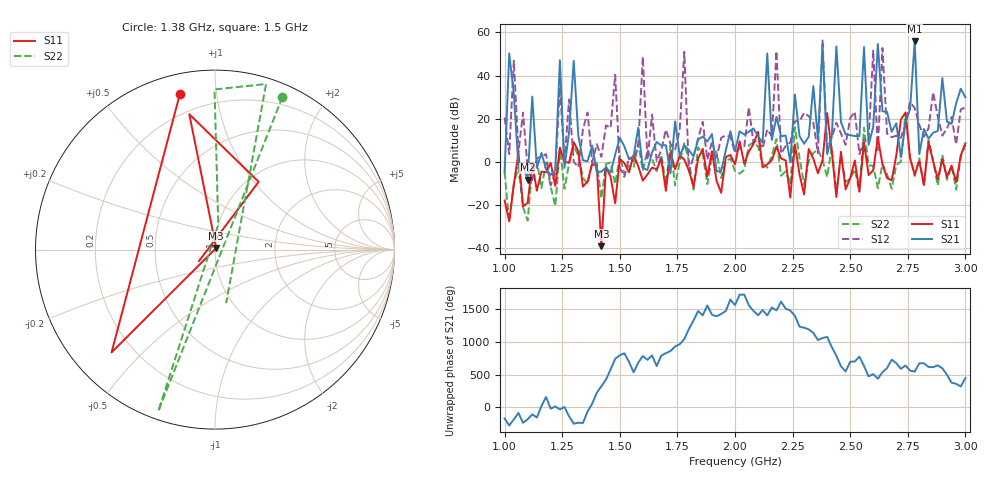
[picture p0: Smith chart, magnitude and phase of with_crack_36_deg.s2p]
# MHz S MA R 50
!  freq  S11  S21  S12  S22
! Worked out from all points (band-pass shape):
!   101 points, 1 GHz to 3 GHz, reference 50 ohm
!   highest |S21| = 55.89 dB at 2.78 GHz (marker M1); lowest = -8.2 dB at 1.1 GHz (marker M2)
!   |S21| within 3 dB of the highest: 2.379532 GHz to 2.380404 GHz (872.3 kHz wide, 0.0367 % of centre); 2.439702 GHz to 2.440356 GHz (653.5 kHz wide, 0.0268 % of centre) (the widest 2 of 5)
!   lowest |S11| = -39.1 dB at 1.42 GHz (marker M3), VSWR 1.02, Z = 50.7 + j0.891 ohm
!   |S11| at or under -10 dB: start of sweep to 1.041 GHz; 1.071 GHz to 1.11 GHz (38.51 MHz wide, 3.53 % of centre); 1.135 GHz to 1.148 GHz (13.04 MHz wide, 1.14 % of centre) (the widest 3 of 16)
!   |S22| runs from -27.7 to 22.3 dB; largest |S21 - S12| = 6.9e+02
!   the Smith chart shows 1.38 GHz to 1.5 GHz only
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1000  0.1269 -148.3  0.5853 -173.3  10.74 -171.4  0.5783 92.1
1020  0.04167 85.7  327.1 81.0  1.512 169.7  0.04125 -17.3
1100  0.1121 110.3  0.3875 176.2  0.6832 -37.2  0.0435 145.2
1340  0.2654 75.1  1.083 119.6  5.618 70.8  0.4281 100.3
1420  0.01107 52.5  0.5911 -39.5  1.308 -158.4  0.1416 82.6
1680  1.156 77.0  2.389 66.9  1.871 -110.6  1.455 128.3
1780  1.127 69.6  2.426 -37.3  352.6 -18.9  2.674 58.0
2000  0.8719 64.1  1.757 121.1  1.632 95.6  0.612 126.4
2160  1.096 144.1  3.215 84.0  3.883 -86.9  1.408 86.9
2180  2.235 51.9  11.01 39.3  367.8 -84.5  3.35 82.9
2340  1.181 75.5  56.83 56.4  8.049 95.4  1.599 92.2
2380  1.093 73.5  495.6 -23.3  650.9 49.0  1.091 73.6
2400  13.43 107.8  1.507 -4.3  2.004 -72.2  0.4461 106.5
2440  0.153 -81.9  473.6 65.8  8.047 127.3  0.1906 -66.6
2560  2.834 -172.8  457.4 -90.3  3.279 11.0  6.184 163.3
2620  3.657 79.9  538.8 75.0  1.88 175.2  0.2441 71.1
2640  0.8744 33.4  14.86 175.3  435.3 -77.4  0.893 31.6
2680  0.3723 15.1  4.969 6.6  3.719 173.1  0.2373 -17.4
2760  1.205 177.1  17 -159.7  24.45 67.8  1.246 176.2
2780  0.5045 127.6  622.7 -176.8  17.53 160.5  0.4679 128.2
2800  1.043 167.1  1.515 -48.1  7.238 -72.7  1.209 148.7
3000  2.681 -69.4  31.39 86.5  18.19 59.3  2.483 -79.2
